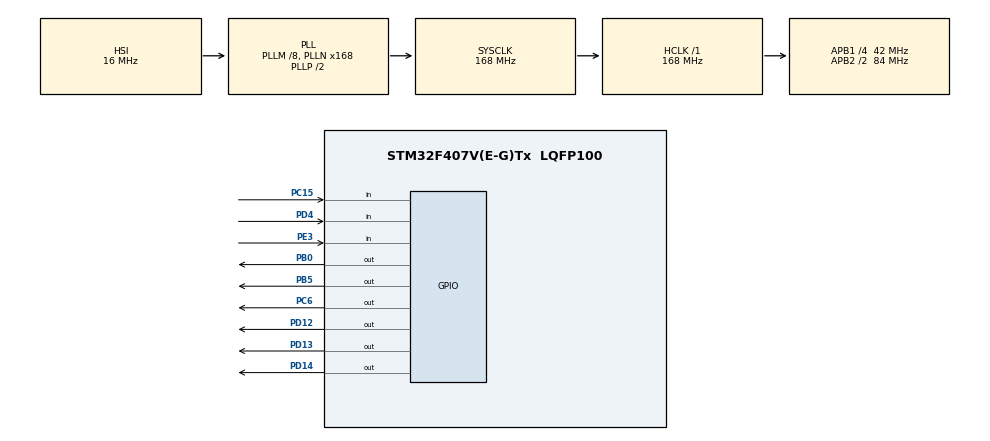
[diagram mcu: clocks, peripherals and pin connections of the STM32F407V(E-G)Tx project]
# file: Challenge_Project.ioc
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Mcu.Family=STM32F4
Mcu.Name=STM32F407V(E-G)Tx
Mcu.Package=LQFP100
NVIC.PriorityGroup=NVIC_PRIORITYGROUP_4
PB0.Signal=GPIO_Output
PB5.Signal=GPIO_Output
PC15-OSC32_OUT.Signal=GPIO_Input
PC6.Signal=GPIO_Output
PD12.Signal=GPIO_Output
PD13.Signal=GPIO_Output
PD14.Signal=GPIO_Output
PD4.Signal=GPIO_Input
PE3.Signal=GPIO_Input
PH0-OSC_IN.Mode=HSE-External-Oscillator
PH0-OSC_IN.Signal=RCC_OSC_IN
PH1-OSC_OUT.Mode=HSE-External-Oscillator
PH1-OSC_OUT.Signal=RCC_OSC_OUT
ProjectManager.HeapSize=0x200
ProjectManager.StackSize=0x400
ProjectManager.TargetToolchain=STM32CubeIDE
RCC.48MHZClocksFreq_Value=84000000
RCC.AHBFreq_Value=168000000
RCC.APB1CLKDivider=RCC_HCLK_DIV4
RCC.APB1Freq_Value=42000000
RCC.APB1TimFreq_Value=84000000
RCC.APB2CLKDivider=RCC_HCLK_DIV2
RCC.APB2Freq_Value=84000000
RCC.APB2TimFreq_Value=168000000
RCC.CortexFreq_Value=168000000
RCC.HCLKFreq_Value=168000000
RCC.HSE_VALUE=8000000
RCC.HSI_VALUE=16000000
RCC.LSE_VALUE=32768
RCC.PLLM=8
RCC.PLLN=168
RCC.SYSCLKFreq_VALUE=168000000
RCC.SYSCLKSource=RCC_SYSCLKSOURCE_PLLCLK
RCC.VCOOutputFreq_Value=336000000
board=custom

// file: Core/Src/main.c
/* USER CODE BEGIN Header */
/**
  ******************************************************************************
  * @file           : main.c
  * @brief          : Main program body
  ******************************************************************************
  * @attention
  *
  * Copyright (c) 2024 STMicroelectronics.
  * All rights reserved.
  *
  * This software is licensed under terms that can be found in the LICENSE file
  * in the root directory of this software component.
  * If no LICENSE file comes with this software, it is provided AS-IS.
  *
  ******************************************************************************
  */
/* USER CODE END Header */
#include "main.h"
#include "gpio.h"

/* USER CODE BEGIN PTD */

typedef struct {
    GPIO_TypeDef *port;
    uint16_t pin;
} GPIO_PinConfig;

/* USER CODE END PTD */

/* USER CODE BEGIN PV */

// switch 상태를 읽어서 저장할 변수
GPIO_PinState switch_state[3];

// 마지막 스위치 상태를 저장하는 변수
GPIO_PinState last_switch_state[3] = {GPIO_PIN_RESET,GPIO_PIN_RESET,GPIO_PIN_RESET};

// LED 상태를 저장하는 변수
GPIO_PinState led_state[2][3] = {
		{GPIO_PIN_SET,GPIO_PIN_SET,GPIO_PIN_SET},
		{GPIO_PIN_SET,GPIO_PIN_SET,GPIO_PIN_SET}
};

// 스위치 및 LED 핀 설정 배열
GPIO_PinConfig switches[3] = {
    {GPIOE, GPIO_PIN_3},
    {GPIOC, GPIO_PIN_15},
    {GPIOD, GPIO_PIN_4}
};
GPIO_PinConfig leds[2][3] = {
    {{GPIOD, GPIO_PIN_12}, {GPIOD, GPIO_PIN_13}, {GPIOD, GPIO_PIN_14}},
    {{GPIOC, GPIO_PIN_6}, {GPIOB, GPIO_PIN_5}, {GPIOB, GPIO_PIN_0}}
};
/* USER CODE END PV */

void SystemClock_Config(void);

int main(void)
{

  /* MCU Configuration--------------------------------------------------------*/

  /* Reset of all peripherals, Initializes the Flash interface and the Systick. */
  HAL_Init();

  /* Configure the system clock */
  SystemClock_Config();

  /* Initialize all configured peripherals */
  MX_GPIO_Init();
  /* USER CODE BEGIN 2 */

  //초기 LED를 모두 OFF
  for (int i = 0; i < 2; i++)
  {
	  for (int j = 0; j < 3; j++)
	  {
		  HAL_GPIO_WritePin(leds[i][j].port, leds[i][j].pin, GPIO_PIN_SET);
	  }
  }

  /* USER CODE END 2 */

  /* Infinite loop */
  while (1)
  {

    /* USER CODE BEGIN 3 */

      // 스위치 상태 읽기
      for (int i = 0; i < 3; ++i) {
          switch_state[i] = HAL_GPIO_ReadPin(switches[i].port, switches[i].pin);
      }

      // 스위치 상태에 따라 LED 토글
      for (int i = 0; i < 3; ++i) {
          if (switch_state[i] != last_switch_state[i]) {
              if (last_switch_state[i] == GPIO_PIN_RESET && switch_state[i] == GPIO_PIN_SET) {
                  // PUSH 상태
                  if (led_state[0][i] == GPIO_PIN_SET) {
                      HAL_GPIO_WritePin(leds[0][i].port, leds[0][i].pin, GPIO_PIN_RESET);
                      led_state[0][i] = GPIO_PIN_RESET;
                  } else {
                      HAL_GPIO_WritePin(leds[0][i].port, leds[0][i].pin, GPIO_PIN_SET);
                      led_state[0][i] = GPIO_PIN_SET;
                  }
              } else if (last_switch_state[i] == GPIO_PIN_SET && switch_state[i] == GPIO_PIN_RESET) {
                  // PULL 상태
                  if (led_state[1][i] == GPIO_PIN_SET) {
                      HAL_GPIO_WritePin(leds[1][i].port, leds[1][i].pin, GPIO_PIN_RESET);
                      led_state[1][i] = GPIO_PIN_RESET;
                  } else {
                      HAL_GPIO_WritePin(leds[1][i].port, leds[1][i].pin, GPIO_PIN_SET);
                      led_state[1][i] = GPIO_PIN_SET;
                  }
              }
          }

          last_switch_state[i] = switch_state[i]; // 스위치 상태 업데이트
      }
  }
  /* USER CODE END 3 */
}

void SystemClock_Config(void)
{
  RCC_OscInitTypeDef RCC_OscInitStruct = {0};
  RCC_ClkInitTypeDef RCC_ClkInitStruct = {0};

  /** Configure the main internal regulator output voltage
  */
  __HAL_RCC_PWR_CLK_ENABLE();
  __HAL_PWR_VOLTAGESCALING_CONFIG(PWR_REGULATOR_VOLTAGE_SCALE1);

  /** Initializes the RCC Oscillators according to the specified parameters
  * in the RCC_OscInitTypeDef structure.
  */
  RCC_OscInitStruct.OscillatorType = RCC_OSCILLATORTYPE_HSI;
  RCC_OscInitStruct.HSIState = RCC_HSI_ON;
  RCC_OscInitStruct.HSICalibrationValue = RCC_HSICALIBRATION_DEFAULT;
  RCC_OscInitStruct.PLL.PLLState = RCC_PLL_ON;
  RCC_OscInitStruct.PLL.PLLSource = RCC_PLLSOURCE_HSI;
  RCC_OscInitStruct.PLL.PLLM = 8;
  RCC_OscInitStruct.PLL.PLLN = 168;
  RCC_OscInitStruct.PLL.PLLP = RCC_PLLP_DIV2;
  RCC_OscInitStruct.PLL.PLLQ = 4;
  if (HAL_RCC_OscConfig(&RCC_OscInitStruct) != HAL_OK)
  {
    Error_Handler();
  }

  /** Initializes the CPU, AHB and APB buses clocks
  */
  RCC_ClkInitStruct.ClockType = RCC_CLOCKTYPE_HCLK|RCC_CLOCKTYPE_SYSCLK
                              |RCC_CLOCKTYPE_PCLK1|RCC_CLOCKTYPE_PCLK2;
  RCC_ClkInitStruct.SYSCLKSource = RCC_SYSCLKSOURCE_PLLCLK;
  RCC_ClkInitStruct.AHBCLKDivider = RCC_SYSCLK_DIV1;
  RCC_ClkInitStruct.APB1CLKDivider = RCC_HCLK_DIV4;
  RCC_ClkInitStruct.APB2CLKDivider = RCC_HCLK_DIV2;

  if (HAL_RCC_ClockConfig(&RCC_ClkInitStruct, FLASH_LATENCY_5) != HAL_OK)
  {
    Error_Handler();
  }
}

void Error_Handler(void)
{
  __disable_irq();
  while (1)
  {
  }
}
